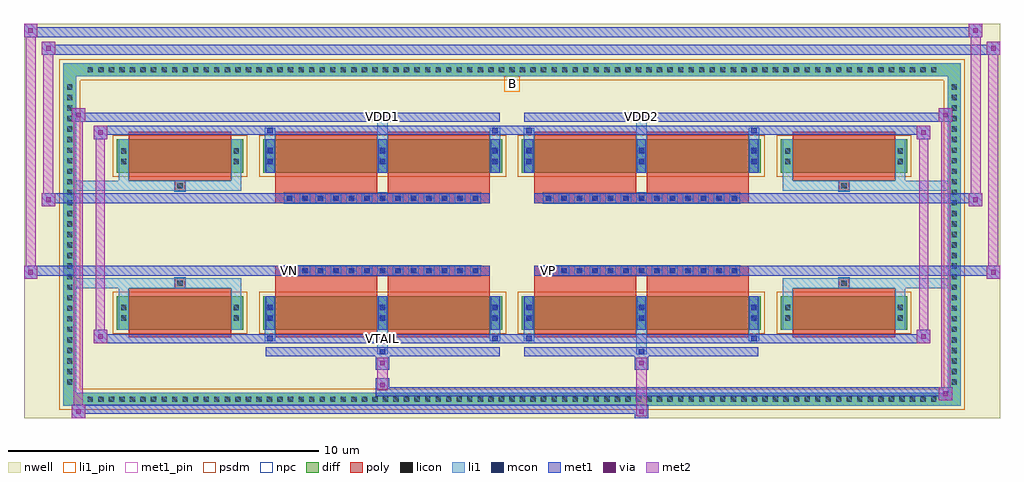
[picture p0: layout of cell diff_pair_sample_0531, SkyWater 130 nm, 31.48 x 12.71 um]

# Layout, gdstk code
import gdstk
lib = gdstk.Library(unit=1e-6, precision=5e-09)
def R(c, l, rs):  # rectangles x0, y0, x1, y1
    for r in rs: c.add(gdstk.rectangle(r[:2], r[2:], *l))
def A(c, l, x, y, w, h, nx, ny, dx, dy):  # array of equal rectangles
    R(c, l, [(x+i*dx, y+j*dy, x+i*dx+w, y+j*dy+h) for i in range(nx) for j in range(ny)])
def P(c, l, *ps):  # polygons
    for p in ps: c.add(gdstk.Polygon(p, *l))
nwell = (64, 20)
diff = (65, 20)
poly = (66, 20)
licon = (66, 44)
li1_pin = (67, 16)
li1 = (67, 20)
mcon = (67, 44)
met1_pin = (68, 16)
met1 = (68, 20)
via = (68, 44)
met2 = (69, 20)
psdm = (94, 20)
npc = (95, 20)

diff_pair_sample_0531 = lib.new_cell('diff_pair_sample_0531')
R(diff_pair_sample_0531, nwell, [(-15.74,-5.92,15.74,6.79), (-13.06,-4.11,-0.01,-0.805), (0.01,-4.11,13.06,-0.805), (-13.06,0.805,-0.01,4.11), (0.01,0.805,13.06,4.11)])
A(diff_pair_sample_0531, diff, -13.805, -5.52, 0.41, 0.41, 81, 2, 0.34, 10.63)
A(diff_pair_sample_0531, diff, -14.47, -4.965, 0.41, 0.41, 1, 29, 0, 0.34)
A(diff_pair_sample_0531, diff, 14.06, -4.965, 0.41, 0.41, 1, 29, 0, 0.34)
R(diff_pair_sample_0531, diff, [(-13.805,-5.52,13.805,-5.11), (-14.47,-4.965,-14.06,4.965), (14.06,-4.965,14.47,4.965), (-12.75,-3.065,-8.67,-1.985), (-8.03,-3.065,-0.32,-1.985), (0.32,-3.065,8.03,-1.985), (8.67,-3.065,12.75,-1.985), (-12.75,1.985,-8.67,3.065), (-8.03,1.985,-0.32,3.065), (0.32,1.985,8.03,3.065), (8.67,1.985,12.75,3.065), (-13.805,5.11,13.805,5.52)])
P(diff_pair_sample_0531, diff, [(14.47,5.52),(-14.47,5.52),(-14.47,-5.11),(-14.06,-5.11),(-14.06,5.11),(14.06,5.11),(14.06,-5.11),(-14.06,-5.11),(-14.47,-5.11),(-14.47,-5.52),(14.47,-5.52)])
A(diff_pair_sample_0531, poly, -7.34, -1.335, 0.33, 0.33, 13, 2, 0.5, 2.34)
A(diff_pair_sample_0531, poly, 1.01, -1.335, 0.33, 0.33, 13, 2, 0.5, 2.34)
R(diff_pair_sample_0531, poly, [(-12.36,-3.315,-9.06,-1.735), (-7.64,-3.315,-4.34,-1.735), (-4.01,-3.315,-0.71,-1.735), (0.71,-3.315,4.01,-1.735), (4.34,-3.315,7.64,-1.735), (9.06,-3.315,12.36,-1.735), (-10.875,-1.735,-10.545,-1.405), (-10.875,-1.735,-10.545,-1.405), (-7.64,-1.735,-4.34,-1.335), (-4.01,-1.735,-0.71,-1.335), (0.71,-1.735,4.01,-1.335), (4.34,-1.735,7.64,-1.335), (10.545,-1.735,10.875,-1.405), (10.545,-1.735,10.875,-1.405), (-7.64,-1.335,-0.71,-1.005), (0.71,-1.335,7.64,-1.005), (-7.64,1.005,-0.71,1.335), (0.71,1.005,7.64,1.335), (-7.64,1.335,-4.34,1.735), (-4.01,1.335,-0.71,1.735), (0.71,1.335,4.01,1.735), (4.34,1.335,7.64,1.735), (-10.875,1.405,-10.545,1.735), (-10.875,1.405,-10.545,1.735), (10.545,1.405,10.875,1.735), (10.545,1.405,10.875,1.735), (-12.36,1.735,-9.06,3.315), (-7.64,1.735,-4.34,3.315), (-4.01,1.735,-0.71,3.315), (0.71,1.735,4.01,3.315), (4.34,1.735,7.64,3.315), (9.06,1.735,12.36,3.315)])
A(diff_pair_sample_0531, licon, -13.685, -5.4, 0.17, 0.17, 81, 2, 0.34, 10.63)
A(diff_pair_sample_0531, licon, -14.35, -4.845, 0.17, 0.17, 1, 29, 0, 0.34)
A(diff_pair_sample_0531, licon, 14.18, -4.845, 0.17, 0.17, 1, 29, 0, 0.34)
A(diff_pair_sample_0531, licon, -7.89, -2.78, 0.17, 0.17, 3, 2, 3.63, 0.34)
A(diff_pair_sample_0531, licon, 0.46, -2.78, 0.17, 0.17, 3, 2, 3.63, 0.34)
A(diff_pair_sample_0531, licon, -7.26, -1.255, 0.17, 0.17, 13, 2, 0.5, 2.34)
A(diff_pair_sample_0531, licon, 1.09, -1.255, 0.17, 0.17, 13, 2, 0.5, 2.34)
A(diff_pair_sample_0531, licon, -7.89, 2.27, 0.17, 0.17, 3, 2, 3.63, 0.34)
A(diff_pair_sample_0531, licon, 0.46, 2.27, 0.17, 0.17, 3, 2, 3.63, 0.34)
R(diff_pair_sample_0531, licon, [(-12.61,-2.78,-12.44,-2.61), (-8.98,-2.78,-8.81,-2.61), (8.81,-2.78,8.98,-2.61), (12.44,-2.78,12.61,-2.61), (-12.61,-2.44,-12.44,-2.27), (-8.98,-2.44,-8.81,-2.27), (8.81,-2.44,8.98,-2.27), (12.44,-2.44,12.61,-2.27), (-10.795,-1.655,-10.625,-1.485), (10.625,-1.655,10.795,-1.485), (-10.795,1.485,-10.625,1.655), (10.625,1.485,10.795,1.655), (-12.61,2.27,-12.44,2.44), (-8.98,2.27,-8.81,2.44), (8.81,2.27,8.98,2.44), (12.44,2.27,12.61,2.44), (-12.61,2.61,-12.44,2.78), (-8.98,2.61,-8.81,2.78), (8.81,2.61,8.98,2.78), (12.44,2.61,12.61,2.78)])
R(diff_pair_sample_0531, li1_pin, [(-0.25,4.61,0.25,5.11)])
A(diff_pair_sample_0531, li1, -13.765, -5.48, 0.33, 0.33, 81, 2, 0.34, 10.63)
A(diff_pair_sample_0531, li1, -14.43, -4.925, 0.33, 0.33, 1, 29, 0, 0.34)
A(diff_pair_sample_0531, li1, 14.1, -4.925, 0.33, 0.33, 1, 29, 0, 0.34)
A(diff_pair_sample_0531, li1, -7.97, -3.065, 0.33, 1.08, 3, 2, 3.63, 5.05)
A(diff_pair_sample_0531, li1, 0.38, -3.065, 0.33, 1.08, 3, 2, 3.63, 5.05)
A(diff_pair_sample_0531, li1, -7.97, -2.86, 0.33, 0.33, 3, 2, 3.63, 0.34)
A(diff_pair_sample_0531, li1, 0.38, -2.86, 0.33, 0.33, 3, 2, 3.63, 0.34)
A(diff_pair_sample_0531, li1, -7.89, -2.79, 0.17, 0.17, 3, 2, 3.63, 0.36)
A(diff_pair_sample_0531, li1, -7.89, -2.79, 0.17, 0.53, 3, 2, 3.63, 5.05)
A(diff_pair_sample_0531, li1, 0.46, -2.79, 0.17, 0.17, 3, 2, 3.63, 0.36)
A(diff_pair_sample_0531, li1, 0.46, -2.79, 0.17, 0.53, 3, 2, 3.63, 5.05)
A(diff_pair_sample_0531, li1, -7.34, -1.335, 0.33, 0.33, 13, 2, 0.5, 2.34)
A(diff_pair_sample_0531, li1, 1.01, -1.335, 0.33, 0.33, 13, 2, 0.5, 2.34)
A(diff_pair_sample_0531, li1, -7.97, 2.19, 0.33, 0.33, 3, 2, 3.63, 0.34)
A(diff_pair_sample_0531, li1, 0.38, 2.19, 0.33, 0.33, 3, 2, 3.63, 0.34)
A(diff_pair_sample_0531, li1, -7.89, 2.26, 0.17, 0.17, 3, 2, 3.63, 0.36)
A(diff_pair_sample_0531, li1, 0.46, 2.26, 0.17, 0.17, 3, 2, 3.63, 0.36)
R(diff_pair_sample_0531, li1, [(-14.47,-5.52,-14.06,-5.11), (-14.47,-5.52,-14.06,-5.11), (-14.06,-5.52,14.06,-5.11), (14.06,-5.52,14.47,-5.11), (14.06,-5.52,14.47,-5.11), (-14.47,-5.11,-14.06,5.11), (14.06,-5.11,14.47,5.11), (-4.34,-3.87,-4.01,-3.065), (-4.26,-3.87,-4.09,-3.7), (4.01,-3.87,4.34,-3.065), (4.09,-3.87,4.26,-3.7), (-7.97,-3.44,-7.64,-3.065), (-7.89,-3.44,-7.72,-3.27), (-0.71,-3.44,-0.38,-3.065), (-0.63,-3.44,-0.46,-3.27), (0.38,-3.44,0.71,-3.065), (0.46,-3.44,0.63,-3.27), (7.64,-3.44,7.97,-3.065), (7.72,-3.44,7.89,-3.27), (-12.69,-3.065,-12.36,-1.985), (-9.06,-3.065,-8.73,-1.985), (8.73,-3.065,9.06,-1.985), (12.36,-3.065,12.69,-1.985), (-12.69,-2.86,-12.36,-2.53), (-9.06,-2.86,-8.73,-2.53), (8.73,-2.86,9.06,-2.53), (12.36,-2.86,12.69,-2.53), (-12.69,-2.52,-12.36,-2.19), (-9.06,-2.52,-8.73,-2.19), (8.73,-2.52,9.06,-2.19), (12.36,-2.52,12.69,-2.19), (-12.69,-1.985,-12.36,-1.405), (-9.06,-1.985,-8.73,-1.405), (8.73,-1.985,9.06,-1.405), (12.36,-1.985,12.69,-1.405), (-14.47,-1.735,-10.875,-1.405), (-12.69,-1.735,-10.875,-1.405), (-10.875,-1.735,-10.545,-1.405), (-10.545,-1.735,-8.73,-1.405), (8.73,-1.735,10.545,-1.405), (10.545,-1.735,10.875,-1.405), (10.545,-1.735,14.47,-1.405), (10.875,-1.735,12.69,-1.405), (-14.47,1.405,-10.875,1.735), (-12.69,1.405,-10.875,1.735), (-12.69,1.405,-12.36,1.985), (-10.875,1.405,-10.545,1.735), (-10.545,1.405,-8.73,1.735), (-9.06,1.405,-8.73,1.985), (8.73,1.405,10.545,1.735), (8.73,1.405,9.06,1.985), (10.545,1.405,10.875,1.735), (10.545,1.405,14.47,1.735), (10.875,1.405,12.69,1.735), (12.36,1.405,12.69,1.985), (-12.69,1.985,-12.36,3.065), (-9.06,1.985,-8.73,3.065), (8.73,1.985,9.06,3.065), (12.36,1.985,12.69,3.065), (-12.69,2.19,-12.36,2.52), (-9.06,2.19,-8.73,2.52), (8.73,2.19,9.06,2.52), (12.36,2.19,12.69,2.52), (-12.69,2.53,-12.36,2.86), (-9.06,2.53,-8.73,2.86), (8.73,2.53,9.06,2.86), (12.36,2.53,12.69,2.86), (-7.97,3.065,-7.64,3.44), (-4.34,3.065,-4.01,3.87), (-0.71,3.065,-0.38,3.44), (0.38,3.065,0.71,3.44), (4.01,3.065,4.34,3.87), (7.64,3.065,7.97,3.44), (-7.89,3.27,-7.72,3.44), (-0.63,3.27,-0.46,3.44), (0.46,3.27,0.63,3.44), (7.72,3.27,7.89,3.44), (-4.26,3.7,-4.09,3.87), (4.09,3.7,4.26,3.87), (-14.47,5.11,-14.06,5.52), (-14.47,5.11,-14.06,5.52), (-14.06,5.11,14.06,5.52), (14.06,5.11,14.47,5.52), (14.06,5.11,14.47,5.52)])
A(diff_pair_sample_0531, mcon, -7.89, -2.79, 0.17, 0.17, 3, 2, 3.63, 0.36)
A(diff_pair_sample_0531, mcon, 0.46, -2.79, 0.17, 0.17, 3, 2, 3.63, 0.36)
A(diff_pair_sample_0531, mcon, -7.26, -1.255, 0.17, 0.17, 13, 2, 0.5, 2.34)
A(diff_pair_sample_0531, mcon, 1.09, -1.255, 0.17, 0.17, 13, 2, 0.5, 2.34)
A(diff_pair_sample_0531, mcon, -7.89, 2.26, 0.17, 0.17, 3, 2, 3.63, 0.36)
A(diff_pair_sample_0531, mcon, 0.46, 2.26, 0.17, 0.17, 3, 2, 3.63, 0.36)
R(diff_pair_sample_0531, mcon, [(-4.26,-3.87,-4.09,-3.7), (4.09,-3.87,4.26,-3.7), (-7.89,-3.44,-7.72,-3.27), (-0.63,-3.44,-0.46,-3.27), (0.46,-3.44,0.63,-3.27), (7.72,-3.44,7.89,-3.27), (-7.89,3.27,-7.72,3.44), (-0.63,3.27,-0.46,3.44), (0.46,3.27,0.63,3.44), (7.72,3.27,7.89,3.44), (-4.26,3.7,-4.09,3.87), (4.09,3.7,4.26,3.87)])
R(diff_pair_sample_0531, met1_pin, [(-4.31,-3.48,-4.04,-3.21), (-7.31,-1.295,-7.04,-1.025), (1.04,-1.295,1.31,-1.025), (-4.31,3.66,-4.04,3.93), (4.04,3.66,4.31,3.93)])
A(diff_pair_sample_0531, met1, -7.95, -3.065, 0.29, 1.08, 3, 2, 3.63, 5.05)
A(diff_pair_sample_0531, met1, 0.4, -3.065, 0.29, 1.08, 3, 2, 3.63, 5.05)
A(diff_pair_sample_0531, met1, -7.95, -2.85, 0.29, 0.29, 3, 2, 3.63, 0.36)
A(diff_pair_sample_0531, met1, 0.4, -2.85, 0.29, 0.29, 3, 2, 3.63, 0.36)
A(diff_pair_sample_0531, met1, -7.32, -1.315, 0.29, 0.29, 13, 2, 0.5, 2.34)
A(diff_pair_sample_0531, met1, 1.03, -1.315, 0.29, 0.29, 13, 2, 0.5, 2.34)
A(diff_pair_sample_0531, met1, -7.95, 2.2, 0.29, 0.29, 3, 2, 3.63, 0.36)
A(diff_pair_sample_0531, met1, 0.4, 2.2, 0.29, 0.29, 3, 2, 3.63, 0.36)
R(diff_pair_sample_0531, met1, [(-14.2,-5.92,-13.77,-5.49), (3.96,-5.92,4.39,-5.49), (-14.2,-5.78,4.39,-5.49), (13.77,-5.35,14.2,-4.92), (-4.39,-5.21,14.2,-4.92), (-4.39,-5.07,-3.96,-4.64), (-4.39,-4.36,-3.96,-3.93), (3.96,-4.36,4.39,-3.93), (-7.95,-3.93,-0.4,-3.64), (-4.32,-3.93,-4.03,-3.64), (0.4,-3.93,7.95,-3.64), (4.03,-3.93,4.32,-3.64), (-13.49,-3.5,-13.06,-3.07), (-13.49,-3.5,-7.95,-3.21), (-7.95,-3.5,-7.66,-3.21), (-7.95,-3.5,-0.4,-3.21), (-0.69,-3.5,-0.4,-3.21), (-0.4,-3.5,0.4,-3.21), (0.4,-3.5,0.69,-3.21), (0.4,-3.5,7.95,-3.21), (7.66,-3.5,7.95,-3.21), (7.95,-3.5,13.49,-3.21), (13.06,-3.5,13.49,-3.07), (-15.74,-1.435,-15.31,-1.005), (15.31,-1.435,15.74,-1.005), (-15.74,-1.335,-0.71,-1.005), (-7.64,-1.335,-0.71,-1.005), (0.71,-1.335,7.64,-1.005), (0.71,-1.335,15.74,-1.005), (-15.17,0.905,-14.74,1.335), (14.74,0.905,15.17,1.335), (-15.17,1.005,-7.64,1.335), (-7.64,1.005,-0.71,1.335), (0.71,1.005,7.64,1.335), (7.64,1.005,15.17,1.335), (-13.49,3.07,-13.06,3.5), (13.06,3.07,13.49,3.5), (-13.49,3.21,-7.95,3.5), (-7.95,3.21,-7.66,3.5), (-7.95,3.21,-0.4,3.5), (-0.69,3.21,-0.4,3.5), (-0.4,3.21,0.4,3.5), (0.4,3.21,0.69,3.5), (0.4,3.21,7.95,3.5), (7.66,3.21,7.95,3.5), (7.95,3.21,13.49,3.5), (-14.2,3.64,-13.77,4.07), (-14.2,3.64,-7.95,3.93), (-7.95,3.64,-0.4,3.93), (-4.32,3.64,-4.03,3.93), (0.4,3.64,7.95,3.93), (4.03,3.64,4.32,3.93), (7.95,3.64,14.2,3.93), (13.77,3.64,14.2,4.07), (-15.17,5.79,-14.74,6.22), (-15.17,5.79,-13.06,6.12), (-13.06,5.79,13.06,6.12), (13.06,5.79,15.74,6.12), (15.31,5.79,15.74,6.22), (-15.74,6.36,-15.31,6.79), (-15.74,6.36,-13.06,6.69), (-13.06,6.36,13.06,6.69), (13.06,6.36,15.17,6.69), (14.74,6.36,15.17,6.79)])
R(diff_pair_sample_0531, via, [(-14.06,-5.78,-13.91,-5.63), (4.1,-5.78,4.25,-5.63), (13.91,-5.21,14.06,-5.06), (-4.25,-4.93,-4.1,-4.78), (-4.25,-4.22,-4.1,-4.07), (4.1,-4.22,4.25,-4.07), (-13.35,-3.36,-13.2,-3.21), (13.2,-3.36,13.35,-3.21), (-15.6,-1.295,-15.45,-1.145), (15.45,-1.295,15.6,-1.145), (-15.03,1.045,-14.88,1.195), (14.88,1.045,15.03,1.195), (-13.35,3.21,-13.2,3.36), (13.2,3.21,13.35,3.36), (-14.06,3.78,-13.91,3.93), (13.91,3.78,14.06,3.93), (-15.03,5.93,-14.88,6.08), (15.45,5.93,15.6,6.08), (-15.6,6.5,-15.45,6.65), (14.88,6.5,15.03,6.65)])
R(diff_pair_sample_0531, met2, [(-14.2,-5.92,-13.77,-5.49), (-14.13,-5.92,-13.84,4.07), (-13.84,-5.92,-13.77,-5.49), (-14.15,-5.87,-13.82,-5.54), (4.01,-5.87,4.34,-5.54), (4.01,-5.54,4.34,-4.31), (13.77,-5.35,14.2,-4.92), (13.84,-5.35,14.13,4.07), (14.13,-5.35,14.2,-4.92), (13.82,-5.3,14.15,-4.97), (-4.34,-5.02,-4.01,-4.69), (-4.34,-4.69,-4.01,-4.31), (-4.34,-4.31,-4.01,-3.98), (4.01,-4.31,4.34,-3.98), (-13.49,-3.5,-13.06,-3.07), (-13.42,-3.5,-13.13,3.5), (-13.13,-3.5,-13.06,-3.07), (13.06,-3.5,13.49,-3.07), (13.13,-3.5,13.42,3.5), (13.42,-3.5,13.49,-3.07), (-13.44,-3.45,-13.11,-3.12), (13.11,-3.45,13.44,-3.12), (-15.74,-1.435,-15.31,-1.005), (-15.69,-1.435,-15.36,6.79), (-15.36,-1.435,-15.31,-1.005), (15.31,-1.435,15.74,-1.005), (15.36,-1.435,15.69,6.22), (15.69,-1.435,15.74,-1.005), (-15.69,-1.385,-15.36,-1.055), (15.36,-1.385,15.69,-1.055), (-15.17,0.905,-14.74,1.335), (-15.12,0.905,-14.79,6.22), (-14.79,0.905,-14.74,1.335), (14.74,0.905,15.17,1.335), (14.79,0.905,15.12,6.79), (15.12,0.905,15.17,1.335), (-15.12,0.955,-14.79,1.285), (14.79,0.955,15.12,1.285), (-13.49,3.07,-13.06,3.5), (-13.13,3.07,-13.06,3.5), (13.06,3.07,13.49,3.5), (13.42,3.07,13.49,3.5), (-13.44,3.12,-13.11,3.45), (13.11,3.12,13.44,3.45), (-14.2,3.64,-13.77,4.07), (-13.84,3.64,-13.77,4.07), (13.77,3.64,14.2,4.07), (14.13,3.64,14.2,4.07), (-14.15,3.69,-13.82,4.02), (13.82,3.69,14.15,4.02), (-15.17,5.79,-14.74,6.22), (-14.79,5.79,-14.74,6.22), (15.31,5.79,15.74,6.22), (15.69,5.79,15.74,6.22), (-15.12,5.84,-14.79,6.17), (15.36,5.84,15.69,6.17), (-15.74,6.36,-15.31,6.79), (-15.36,6.36,-15.31,6.79), (14.74,6.36,15.17,6.79), (15.12,6.36,15.17,6.79), (-15.69,6.41,-15.36,6.74), (14.79,6.41,15.12,6.74)])
R(diff_pair_sample_0531, psdm, [(-12.88,-3.195,-8.54,-1.855), (-8.16,-3.195,-0.19,-1.855), (0.19,-3.195,8.16,-1.855), (8.54,-3.195,12.88,-1.855), (-12.88,1.855,-8.54,3.195), (-8.16,1.855,-0.19,3.195), (0.19,1.855,8.16,3.195), (8.54,1.855,12.88,3.195)])
P(diff_pair_sample_0531, psdm, [(14.6,5.65),(-14.6,5.65),(-14.6,-4.98),(-13.93,-4.98),(-13.93,4.98),(13.93,4.98),(13.93,-4.98),(-13.93,-4.98),(-14.6,-4.98),(-14.6,-5.65),(14.6,-5.65)])
A(diff_pair_sample_0531, npc, -7.36, -1.355, 0.37, 0.37, 13, 2, 0.5, 2.34)
A(diff_pair_sample_0531, npc, 0.99, -1.355, 0.37, 0.37, 13, 2, 0.5, 2.34)
R(diff_pair_sample_0531, npc, [(-10.895,-1.755,-10.525,-1.385), (10.525,-1.755,10.895,-1.385), (-7.36,-1.355,-6.49,-0.985), (-7.36,-1.355,-6.49,-0.985), (-6.86,-1.355,-5.99,-0.985), (-6.86,-1.355,-5.99,-0.985), (-6.36,-1.355,-5.49,-0.985), (-6.36,-1.355,-5.49,-0.985), (-5.86,-1.355,-4.99,-0.985), (-5.86,-1.355,-4.99,-0.985), (-5.36,-1.355,-4.49,-0.985), (-5.36,-1.355,-4.49,-0.985), (-4.86,-1.355,-3.99,-0.985), (-4.86,-1.355,-3.99,-0.985), (-4.36,-1.355,-3.49,-0.985), (-4.36,-1.355,-3.49,-0.985), (-3.86,-1.355,-2.99,-0.985), (-3.86,-1.355,-2.99,-0.985), (-3.36,-1.355,-2.49,-0.985), (-3.36,-1.355,-2.49,-0.985), (-2.86,-1.355,-1.99,-0.985), (-2.86,-1.355,-1.99,-0.985), (-2.36,-1.355,-1.49,-0.985), (-2.36,-1.355,-1.49,-0.985), (-1.86,-1.355,-0.99,-0.985), (-1.86,-1.355,-0.99,-0.985), (0.99,-1.355,1.86,-0.985), (0.99,-1.355,1.86,-0.985), (1.49,-1.355,2.36,-0.985), (1.49,-1.355,2.36,-0.985), (1.99,-1.355,2.86,-0.985), (1.99,-1.355,2.86,-0.985), (2.49,-1.355,3.36,-0.985), (2.49,-1.355,3.36,-0.985), (2.99,-1.355,3.86,-0.985), (2.99,-1.355,3.86,-0.985), (3.49,-1.355,4.36,-0.985), (3.49,-1.355,4.36,-0.985), (3.99,-1.355,4.86,-0.985), (3.99,-1.355,4.86,-0.985), (4.49,-1.355,5.36,-0.985), (4.49,-1.355,5.36,-0.985), (4.99,-1.355,5.86,-0.985), (4.99,-1.355,5.86,-0.985), (5.49,-1.355,6.36,-0.985), (5.49,-1.355,6.36,-0.985), (5.99,-1.355,6.86,-0.985), (5.99,-1.355,6.86,-0.985), (6.49,-1.355,7.36,-0.985), (6.49,-1.355,7.36,-0.985), (-7.36,0.985,-6.49,1.355), (-7.36,0.985,-6.49,1.355), (-6.86,0.985,-5.99,1.355), (-6.86,0.985,-5.99,1.355), (-6.36,0.985,-5.49,1.355), (-6.36,0.985,-5.49,1.355), (-5.86,0.985,-4.99,1.355), (-5.86,0.985,-4.99,1.355), (-5.36,0.985,-4.49,1.355), (-5.36,0.985,-4.49,1.355), (-4.86,0.985,-3.99,1.355), (-4.86,0.985,-3.99,1.355), (-4.36,0.985,-3.49,1.355), (-4.36,0.985,-3.49,1.355), (-3.86,0.985,-2.99,1.355), (-3.86,0.985,-2.99,1.355), (-3.36,0.985,-2.49,1.355), (-3.36,0.985,-2.49,1.355), (-2.86,0.985,-1.99,1.355), (-2.86,0.985,-1.99,1.355), (-2.36,0.985,-1.49,1.355), (-2.36,0.985,-1.49,1.355), (-1.86,0.985,-0.99,1.355), (-1.86,0.985,-0.99,1.355), (0.99,0.985,1.86,1.355), (0.99,0.985,1.86,1.355), (1.49,0.985,2.36,1.355), (1.49,0.985,2.36,1.355), (1.99,0.985,2.86,1.355), (1.99,0.985,2.86,1.355), (2.49,0.985,3.36,1.355), (2.49,0.985,3.36,1.355), (2.99,0.985,3.86,1.355), (2.99,0.985,3.86,1.355), (3.49,0.985,4.36,1.355), (3.49,0.985,4.36,1.355), (3.99,0.985,4.86,1.355), (3.99,0.985,4.86,1.355), (4.49,0.985,5.36,1.355), (4.49,0.985,5.36,1.355), (4.99,0.985,5.86,1.355), (4.99,0.985,5.86,1.355), (5.49,0.985,6.36,1.355), (5.49,0.985,6.36,1.355), (5.99,0.985,6.86,1.355), (5.99,0.985,6.86,1.355), (6.49,0.985,7.36,1.355), (6.49,0.985,7.36,1.355), (-10.895,1.385,-10.525,1.755), (10.525,1.385,10.895,1.755)])
diff_pair_sample_0531.add(gdstk.Label('VTAIL', (-4.175,-3.345), layer=68, texttype=5))
diff_pair_sample_0531.add(gdstk.Label('VN', (-7.175,-1.16), layer=68, texttype=5))
diff_pair_sample_0531.add(gdstk.Label('VP', (1.175,-1.16), layer=68, texttype=5))
diff_pair_sample_0531.add(gdstk.Label('B', (0,4.86), layer=67, texttype=5))
diff_pair_sample_0531.add(gdstk.Label('VDD2', (4.175,3.795), layer=68, texttype=5))
diff_pair_sample_0531.add(gdstk.Label('VDD1', (-4.175,3.795), layer=68, texttype=5))

lib.write_gds('diff_pair_sample_0531.gds')
